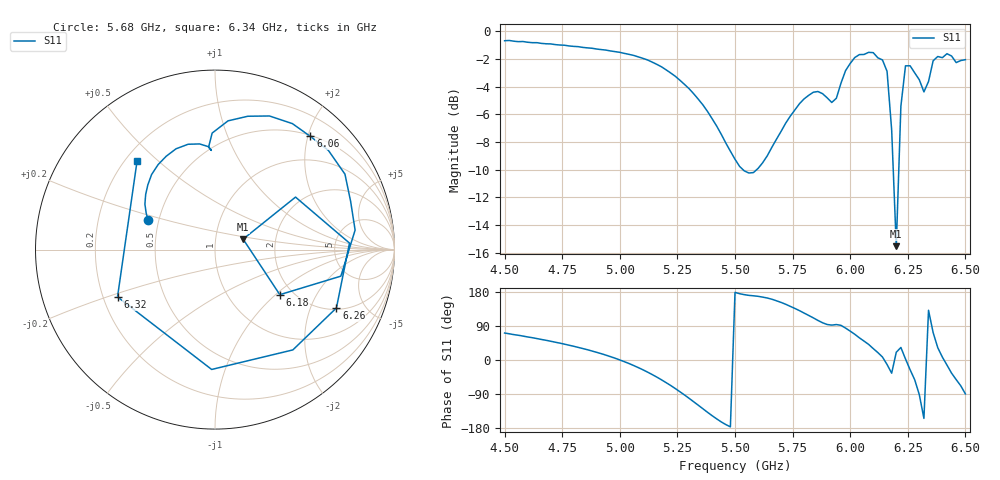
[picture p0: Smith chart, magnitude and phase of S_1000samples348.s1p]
! TOUCHSTONE file generated by CST MICROWAVE STUDIO
! Date and time: Thu Oct 27 20:54:00 2022
! Project name: L.cst
! Parameters = {Di=1.27; Epsilon_r=1.56; InnerDiameter=1.27; Length=2; Lf=10; Lg=60; OuterConductorThickness=0.2921; OuterDiameter=3.6; Wf=3; Wp=41.2; de=1.5; df=6.8; g=0.8; gx=3.40232; gy=1.04116; h=2.34; hf=1.524; px=10.2957; py=12.9164; w=9.7; wx=6.89334; wy=11.8752}
! Header version: 2018
! Port assignment regex: !\s*Touchstone port\s*([0-9]+)\s*=\s*(CST MWS port|CST DS port)\s*([0-9]+|Zmin|Zmax)\s*\(\"(.*)\"\)(\s*mode\s*([0-9]+))?.*
! Touchstone port assignment:
! Touchstone port 1 = CST MWS port 1 ("")
# GHz S DB R 50
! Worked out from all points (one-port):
!   101 points, 4.5 GHz to 6.5 GHz, reference 50 ohm
!   lowest |S11| = -15.5 dB at 6.2 GHz (marker M1), VSWR 1.40, Z = 68 + j8.16 ohm
!   |S11| at or under -10 dB: 5.534 GHz to 5.595 GHz (60.26 MHz wide, 1.08 % of centre); 6.18682 GHz to 6.210953 GHz (24.13 MHz wide, 0.389 % of centre)
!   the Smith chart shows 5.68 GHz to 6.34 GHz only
!   S11 on the Smith chart (normalised r, x): 5.68 GHz: 0.44, +0.17; 6.06 GHz: 0.52, +2.04; 6.18 GHz: 1.71, -1.07; 6.26 GHz: 2.08, -3.09; 6.32 GHz: 0.26, -0.22; 6.34 GHz: 0.25, +0.43
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4.5  -0.68 71.2
4.76  -1.01 41.8
5  -1.52 0.2
5.12  -2.07 -31.8
5.26  -3.53 -83.4
5.38  -5.78 -137.7
5.5  -9.25 178.5
5.68  -7.80 156.3
5.76  -5.68 136.0
5.96  -3.75 91.4
6  -2.33 76.2
6.06  -1.67 49.9
6.14  -2.07 7.9
6.16  -2.89 -11.9
6.18  -7.13 -34.8
6.2  -15.54 20.4
6.22  -5.42 33.1
6.24  -2.50 2.8
6.26  -2.49 -25.7
6.28  -3.01 -52.2
6.3  -3.50 -91.6
6.32  -4.38 -154.1
6.34  -3.63 131.2
6.36  -2.13 72.2
6.38  -1.82 32.6
6.4  -1.91 7.7
6.44  -1.78 -34.7
6.5  -2.05 -89.4
